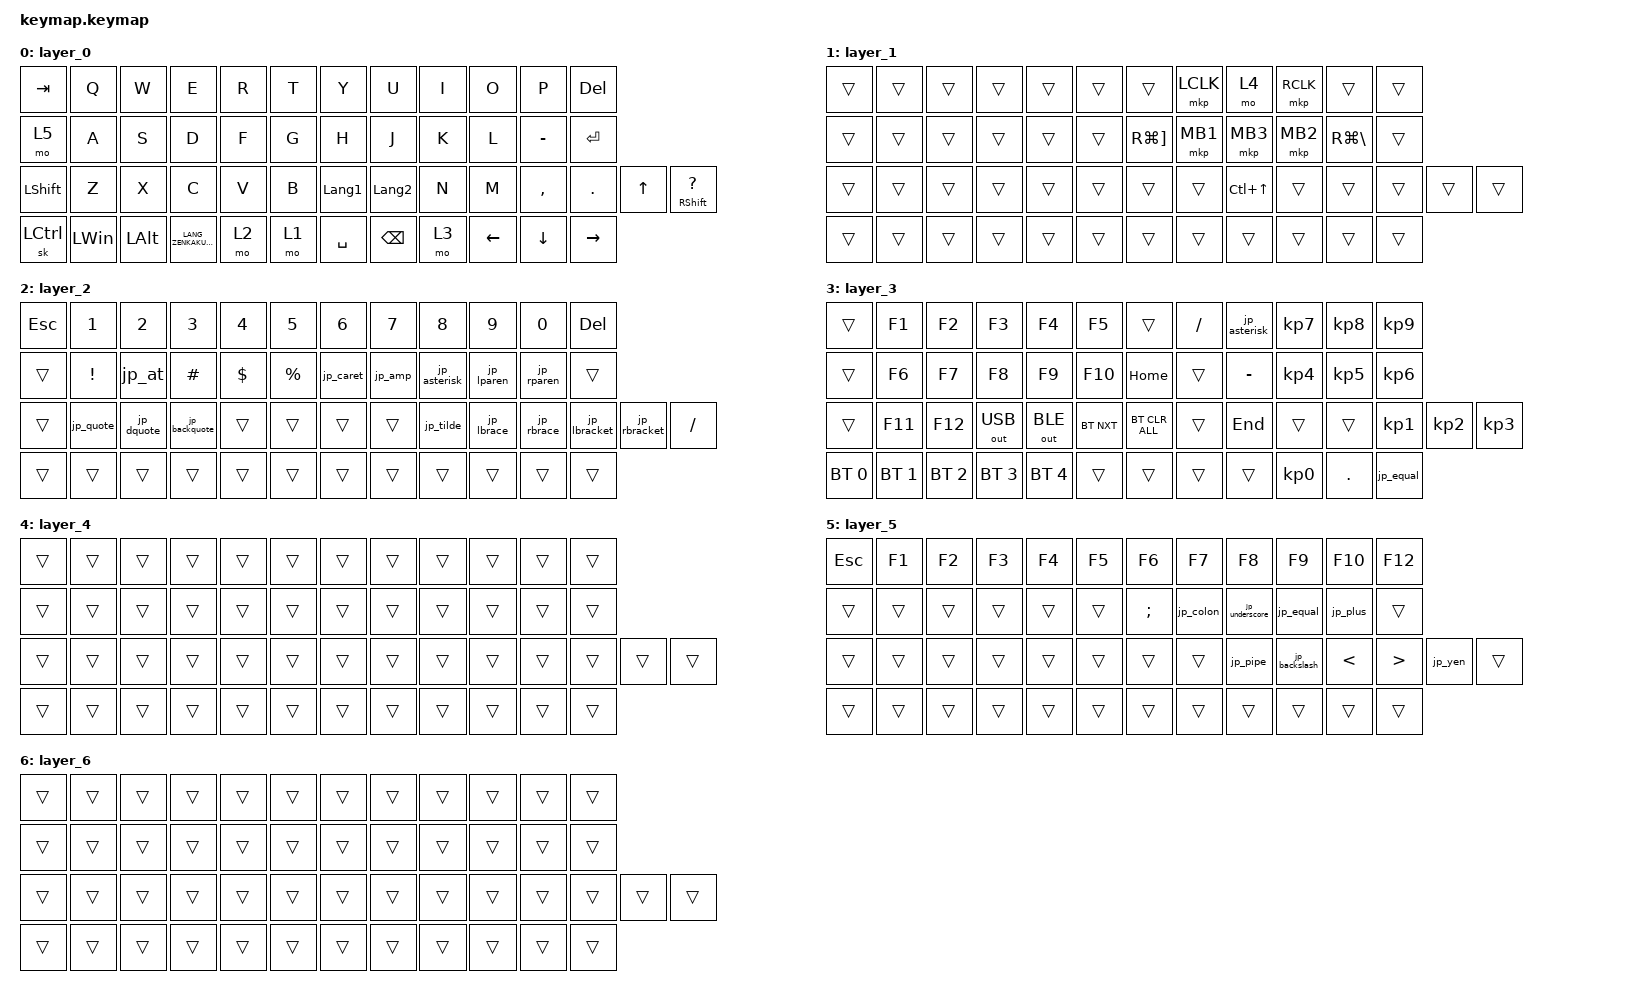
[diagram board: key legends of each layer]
#include <behaviors.dtsi>
#include <dt-bindings/zmk/bt.h>
#include <dt-bindings/zmk/keys.h>
#include <dt-bindings/zmk/outputs.h>
#include <dt-bindings/zmk/pointing.h>

/ {
    combos {
        compatible = "zmk,combos";

        bt_clear {
            bindings = <&bt BT_CLR>;
            key-positions = <28 29>;
            layers = <2>;
        };
    };

    macros {
        jp_dquote: jp_dquote {
            compatible = "zmk,behavior-macro";
            #binding-cells = <0>;
            bindings =
                <&macro_press>,
                <&kp AT>,
                <&macro_pause_for_release>,
                <&macro_release>,
                <&kp AT>;
        };

        jp_amp: jp_amp {
            compatible = "zmk,behavior-macro";
            #binding-cells = <0>;
            bindings =
                <&macro_press>,
                <&kp CARET>,
                <&macro_pause_for_release>,
                <&macro_release>,
                <&kp CARET>;
        };

        jp_quote: jp_quote {
            compatible = "zmk,behavior-macro";
            #binding-cells = <0>;
            bindings =
                <&macro_press>,
                <&kp AMPERSAND>,
                <&macro_pause_for_release>,
                <&macro_release>,
                <&kp AMPERSAND>;
        };

        jp_equal: jp_equal {
            compatible = "zmk,behavior-macro";
            #binding-cells = <0>;
            bindings =
                <&macro_press>,
                <&kp UNDER>,
                <&macro_pause_for_release>,
                <&macro_release>,
                <&kp UNDER>;
        };

        jp_caret: jp_caret {
            compatible = "zmk,behavior-macro";
            #binding-cells = <0>;
            bindings =
                <&macro_press>,
                <&kp EQUAL>,
                <&macro_pause_for_release>,
                <&macro_release>,
                <&kp EQUAL>;
        };

        jp_yen: jp_yen {
            compatible = "zmk,behavior-macro";
            #binding-cells = <0>;
            bindings =
                <&macro_press>,
                <&kp INT_YEN>,
                <&macro_pause_for_release>,
                <&macro_release>,
                <&kp INT_YEN>;
        };

        jp_plus: jp_plus {
            compatible = "zmk,behavior-macro";
            #binding-cells = <0>;
            bindings =
                <&macro_press>,
                <&kp COLON>,
                <&macro_pause_for_release>,
                <&macro_release>,
                <&kp COLON>;
        };

        jp_tilde: jp_tilde {
            compatible = "zmk,behavior-macro";
            #binding-cells = <0>;
            bindings =
                <&macro_press>,
                <&kp PLUS>,
                <&macro_pause_for_release>,
                <&macro_release>,
                <&kp PLUS>;
        };

        jp_pipe: jp_pipe {
            compatible = "zmk,behavior-macro";
            #binding-cells = <0>;
            bindings =
                <&macro_press>,
                <&kp LS(INT_YEN)>,
                <&macro_pause_for_release>,
                <&macro_release>,
                <&kp LS(INT_YEN)>;
        };

        jp_at: jp_at {
            compatible = "zmk,behavior-macro";
            #binding-cells = <0>;
            bindings =
                <&macro_press>,
                <&kp LEFT_BRACKET>,
                <&macro_pause_for_release>,
                <&macro_release>,
                <&kp LEFT_BRACKET>;
        };

        jp_colon: jp_colon {
            compatible = "zmk,behavior-macro";
            #binding-cells = <0>;
            bindings =
                <&macro_press>,
                <&kp SINGLE_QUOTE>,
                <&macro_pause_for_release>,
                <&macro_release>,
                <&kp SINGLE_QUOTE>;
        };

        jp_asterisk: jp_asterisk {
            compatible = "zmk,behavior-macro";
            #binding-cells = <0>;
            bindings =
                <&macro_press>,
                <&kp DOUBLE_QUOTES>,
                <&macro_pause_for_release>,
                <&macro_release>,
                <&kp DOUBLE_QUOTES>;
        };

        jp_backquote: jp_backquote {
            compatible = "zmk,behavior-macro";
            #binding-cells = <0>;
            bindings =
                <&macro_press>,
                <&kp LEFT_BRACE>,
                <&macro_pause_for_release>,
                <&macro_release>,
                <&kp LEFT_BRACE>;
        };

        jp_underscore: jp_underscore {
            compatible = "zmk,behavior-macro";
            #binding-cells = <0>;
            bindings =
                <&macro_press>,
                <&kp LS(INT_RO)>,
                <&macro_pause_for_release>,
                <&macro_release>,
                <&kp LS(INT_RO)>;
        };

        jp_backslash: jp_backslash {
            compatible = "zmk,behavior-macro";
            #binding-cells = <0>;
            bindings =
                <&macro_press>,
                <&kp INT_RO>,
                <&macro_pause_for_release>,
                <&macro_release>,
                <&kp INT_RO>;
        };

        jp_lbracket: jp_lbracket {
            compatible = "zmk,behavior-macro";
            #binding-cells = <0>;
            bindings =
                <&macro_press>,
                <&kp RIGHT_BRACKET>,
                <&macro_pause_for_release>,
                <&macro_release>,
                <&kp RIGHT_BRACKET>;
        };

        jp_rbracket: jp_rbracket {
            compatible = "zmk,behavior-macro";
            #binding-cells = <0>;
            bindings =
                <&macro_press>,
                <&kp BACKSLASH>,
                <&macro_pause_for_release>,
                <&macro_release>,
                <&kp BACKSLASH>;
        };

        jp_lparen: jp_lparen {
            compatible = "zmk,behavior-macro";
            #binding-cells = <0>;
            bindings =
                <&macro_press>,
                <&kp ASTERISK>,
                <&macro_pause_for_release>,
                <&macro_release>,
                <&kp ASTERISK>;
        };

        jp_rparen: jp_rparen {
            compatible = "zmk,behavior-macro";
            #binding-cells = <0>;
            bindings =
                <&macro_press>,
                <&kp LEFT_PARENTHESIS>,
                <&macro_pause_for_release>,
                <&macro_release>,
                <&kp LEFT_PARENTHESIS>;
        };

        jp_lbrace: jp_lbrace {
            compatible = "zmk,behavior-macro";
            #binding-cells = <0>;
            bindings =
                <&macro_press>,
                <&kp RIGHT_BRACE>,
                <&macro_pause_for_release>,
                <&macro_release>,
                <&kp RIGHT_BRACE>;
        };

        jp_rbrace: jp_rbrace {
            compatible = "zmk,behavior-macro";
            #binding-cells = <0>;
            bindings =
                <&macro_press>,
                <&kp PIPE>,
                <&macro_pause_for_release>,
                <&macro_release>,
                <&kp PIPE>;
        };

        jp_hanzen: jp_hanzen {
            compatible = "zmk,behavior-macro";
            #binding-cells = <0>;
            bindings =
                <&macro_press>,
                <&kp GRAVE>,
                <&macro_pause_for_release>,
                <&macro_release>,
                <&kp GRAVE>;
        };
    };

    keymap {
        compatible = "zmk,keymap";

        layer_0 {
            bindings = <
&kp TAB    &kp Q         &kp W         &kp E                    &kp R  &kp T  &kp Y           &kp U           &kp I  &kp O           &kp P           &kp DELETE
&mo 5      &kp A         &kp S         &kp D                    &kp F  &kp G  &kp H           &kp J           &kp K  &kp L           &kp MINUS       &kp ENTER
&kp LSHFT  &kp Z         &kp X         &kp C                    &kp V  &kp B  &kp LANGUAGE_1  &kp LANGUAGE_2  &kp N  &kp M           &kp COMMA       &kp DOT          &kp UP_ARROW  &mt RSHFT QUESTION
&sk LCTRL  &kp LEFT_WIN  &kp LEFT_ALT  &kp LANG_ZENKAKUHANKAKU  &mo 2  &mo 1  &kp SPACE       &kp BACKSPACE   &mo 3  &kp LEFT_ARROW  &kp DOWN_ARROW  &kp RIGHT_ARROW
            >;
        };

        layer_1 {
            bindings = <
&trans  &trans  &trans  &trans  &trans  &trans  &trans                 &mkp LCLK  &mo 4             &mkp RCLK  &trans             &trans
&trans  &trans  &trans  &trans  &trans  &trans  &kp RG(RIGHT_BRACKET)  &mkp MB1   &mkp MB3          &mkp MB2   &kp RG(BACKSLASH)  &trans
&trans  &trans  &trans  &trans  &trans  &trans  &trans                 &trans     &kp LC(UP_ARROW)  &trans     &trans             &trans  &trans  &trans
&trans  &trans  &trans  &trans  &trans  &trans  &trans                 &trans     &trans            &trans     &trans             &trans
            >;
        };

        layer_2 {
            bindings = <
&kp ESCAPE  &kp N1     &kp N2      &kp N3         &kp N4      &kp N5     &kp N6     &kp N7   &kp N8        &kp N9      &kp N0      &kp DELETE
&trans      &kp EXCL   &jp_at      &kp HASH       &kp DOLLAR  &kp PRCNT  &jp_caret  &jp_amp  &jp_asterisk  &jp_lparen  &jp_rparen  &trans
&trans      &jp_quote  &jp_dquote  &jp_backquote  &trans      &trans     &trans     &trans   &jp_tilde     &jp_lbrace  &jp_rbrace  &jp_lbracket  &jp_rbracket  &kp SLASH
&trans      &trans     &trans      &trans         &trans      &trans     &trans     &trans   &trans        &trans      &trans      &trans
            >;
        };

        layer_3 {
            bindings = <
&trans        &kp F1        &kp F2        &kp F3        &kp F4        &kp F5      &trans          &kp FSLH  &jp_asterisk  &kp KP_NUMBER_7  &kp KP_NUMBER_8  &kp KP_NUMBER_9
&trans        &kp F6        &kp F7        &kp F8        &kp F9        &kp F10     &kp HOME        &trans    &kp MINUS     &kp KP_NUMBER_4  &kp KP_NUMBER_5  &kp KP_NUMBER_6
&trans        &kp F11       &kp F12       &out OUT_USB  &out OUT_BLE  &bt BT_NXT  &bt BT_CLR_ALL  &trans    &kp END       &trans           &trans           &kp KP_NUMBER_1  &kp KP_NUMBER_2  &kp KP_NUMBER_3
&bt BT_SEL 0  &bt BT_SEL 1  &bt BT_SEL 2  &bt BT_SEL 3  &bt BT_SEL 4  &trans      &trans          &trans    &trans        &kp KP_NUMBER_0  &kp DOT          &jp_equal
            >;
        };

        layer_4 {
            bindings = <
&trans  &trans  &trans  &trans  &trans  &trans  &trans  &trans  &trans  &trans  &trans  &trans
&trans  &trans  &trans  &trans  &trans  &trans  &trans  &trans  &trans  &trans  &trans  &trans
&trans  &trans  &trans  &trans  &trans  &trans  &trans  &trans  &trans  &trans  &trans  &trans  &trans  &trans
&trans  &trans  &trans  &trans  &trans  &trans  &trans  &trans  &trans  &trans  &trans  &trans
            >;
        };

        layer_5 {
            bindings = <
&kp ESC  &kp F1  &kp F2  &kp F3  &kp F4  &kp F5  &kp F6         &kp F7     &kp F8          &kp F9         &kp F10        &kp F12
&trans   &trans  &trans  &trans  &trans  &trans  &kp SEMICOLON  &jp_colon  &jp_underscore  &jp_equal      &jp_plus       &trans
&trans   &trans  &trans  &trans  &trans  &trans  &trans         &trans     &jp_pipe        &jp_backslash  &kp LESS_THAN  &kp GREATER_THAN  &jp_yen  &trans
&trans   &trans  &trans  &trans  &trans  &trans  &trans         &trans     &trans          &trans         &trans         &trans
            >;
        };

        layer_6 {
            bindings = <
&trans  &trans  &trans  &trans  &trans  &trans  &trans  &trans  &trans  &trans  &trans  &trans
&trans  &trans  &trans  &trans  &trans  &trans  &trans  &trans  &trans  &trans  &trans  &trans
&trans  &trans  &trans  &trans  &trans  &trans  &trans  &trans  &trans  &trans  &trans  &trans  &trans  &trans
&trans  &trans  &trans  &trans  &trans  &trans  &trans  &trans  &trans  &trans  &trans  &trans
            >;
        };
    };
};
